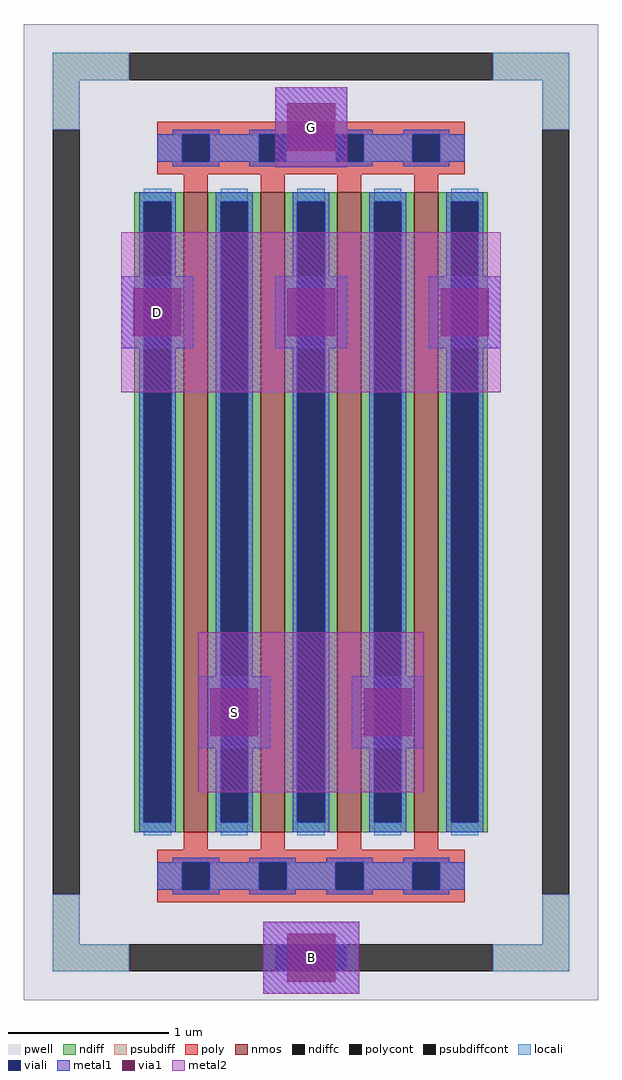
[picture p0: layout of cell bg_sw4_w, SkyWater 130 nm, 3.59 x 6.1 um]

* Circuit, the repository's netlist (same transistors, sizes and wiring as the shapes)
* NGSPICE file created from bg_sw4_w.ext - technology: sky130A

.subckt bg_sw4 B D0 G S1 D2 S3 a_159_n400#
X0 S3 G D2 B sky130_fd_pr__nfet_01v8 ad=0.66 pd=4.33 as=0.66 ps=4.33 w=4 l=0.15
X1 S1 G D0 B sky130_fd_pr__nfet_01v8 ad=0.66 pd=4.33 as=1.24 ps=8.62 w=4 l=0.15
X2 D2 G S1 B sky130_fd_pr__nfet_01v8 ad=0.66 pd=4.33 as=0.66 ps=4.33 w=4 l=0.15
X3 a_159_n400# G S3 B sky130_fd_pr__nfet_01v8 ad=1.24 pd=8.62 as=0.66 ps=4.33 w=4 l=0.15
.ends

.subckt bg_sw4_w D S G B
Xu_dev B D G S D S D bg_sw4
.ends

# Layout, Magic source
magic
tech sky130A
magscale 1 2
use bg_sw4 u_dev
transform 1 0 0 0 1 0
box -359 -610 359 610
<< viali >>
rect -45 -574 45 -540
<< metal1 >>
rect -237 205 -147 295
rect -45 205 45 295
rect 147 205 237 295
rect -141 -295 -51 -205
rect 51 -295 141 -205
rect -45 432 45 531
rect -60 -602 60 -512
<< via1 >>
rect -222 220 -162 280
rect -30 220 30 280
rect 162 220 222 280
rect -126 -280 -66 -220
rect 66 -280 126 -220
rect -30 451 30 511
rect -30 -587 30 -527
<< metal2 >>
rect -237 150 237 350
rect -141 -350 141 -150
rect -45 431 45 531
rect -60 -602 60 -512
<< labels >>
rlabel metal2 -192 250 -192 250 0 D
port 1 nsew
rlabel metal2 -96 -250 -96 -250 0 S
port 2 nsew
rlabel metal2 0 481 0 481 0 G
port 3 nsew
rlabel metal2 0 -557 0 -557 0 B
port 4 nsew
<< end >>

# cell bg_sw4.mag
magic
tech sky130A
magscale 1 2
<< pwell >>
rect -359 -610 359 610
<< nmos >>
rect -159 -400 -129 400
rect -63 -400 -33 400
rect 33 -400 63 400
rect 129 -400 159 400
<< ndiff >>
rect -221 388 -159 400
rect -221 -388 -209 388
rect -175 -388 -159 388
rect -221 -400 -159 -388
rect -129 388 -63 400
rect -129 -388 -113 388
rect -79 -388 -63 388
rect -129 -400 -63 -388
rect -33 388 33 400
rect -33 -388 -17 388
rect 17 -388 33 388
rect -33 -400 33 -388
rect 63 388 129 400
rect 63 -388 79 388
rect 113 -388 129 388
rect 63 -400 129 -388
rect 159 388 221 400
rect 159 -388 175 388
rect 209 -388 221 388
rect 159 -400 221 -388
<< ndiffc >>
rect -209 -388 -175 388
rect -113 -388 -79 388
rect -17 -388 17 388
rect 79 -388 113 388
rect 175 -388 209 388
<< psubdiff >>
rect -323 540 -227 574
rect 227 540 323 574
rect -323 478 -289 540
rect 289 478 323 540
rect -323 -540 -289 -478
rect 289 -540 323 -478
rect -323 -574 -227 -540
rect 227 -574 323 -540
<< psubdiffcont >>
rect -227 540 227 574
rect -323 -478 -289 478
rect 289 -478 323 478
rect -227 -574 227 -540
<< poly >>
rect -192 472 192 488
rect -192 438 -161 472
rect -127 438 -65 472
rect -31 438 31 472
rect 65 438 127 472
rect 161 438 192 472
rect -192 422 192 438
rect -159 400 -129 422
rect -63 400 -33 422
rect 33 400 63 422
rect 129 400 159 422
rect -159 -422 -129 -400
rect -63 -422 -33 -400
rect 33 -422 63 -400
rect 129 -422 159 -400
rect -192 -438 192 -422
rect -192 -472 -161 -438
rect -127 -472 -65 -438
rect -31 -472 31 -438
rect 65 -472 127 -438
rect 161 -472 192 -438
rect -192 -488 192 -472
<< polycont >>
rect -161 438 -127 472
rect -65 438 -31 472
rect 31 438 65 472
rect 127 438 161 472
rect -161 -472 -127 -438
rect -65 -472 -31 -438
rect 31 -472 65 -438
rect 127 -472 161 -438
<< locali >>
rect -323 540 -227 574
rect 227 540 323 574
rect -323 478 -289 540
rect 289 478 323 540
rect -192 438 -161 472
rect -127 438 -65 472
rect -31 438 31 472
rect 65 438 127 472
rect 161 438 192 472
rect -209 388 -175 404
rect -209 -404 -175 -388
rect -113 388 -79 404
rect -113 -404 -79 -388
rect -17 388 17 404
rect -17 -404 17 -388
rect 79 388 113 404
rect 79 -404 113 -388
rect 175 388 209 404
rect 175 -404 209 -388
rect -192 -472 -161 -438
rect -127 -472 -65 -438
rect -31 -472 31 -438
rect 65 -472 127 -438
rect 161 -472 192 -438
rect -323 -540 -289 -478
rect 289 -540 323 -478
rect -323 -574 -227 -540
rect 227 -574 323 -540
<< viali >>
rect -161 438 -127 472
rect -65 438 -31 472
rect 31 438 65 472
rect 127 438 161 472
rect -209 -388 -175 388
rect -113 -388 -79 388
rect -17 -388 17 388
rect 79 -388 113 388
rect 175 -388 209 388
rect -161 -472 -127 -438
rect -65 -472 -31 -438
rect 31 -472 65 -438
rect 127 -472 161 -438
<< metal1 >>
rect -173 472 -115 478
rect -77 472 -19 478
rect 19 472 77 478
rect 115 472 173 478
rect -192 438 -161 472
rect -127 438 -65 472
rect -31 438 31 472
rect 65 438 127 472
rect 161 438 192 472
rect -173 432 -115 438
rect -77 432 -19 438
rect 19 432 77 438
rect 115 432 173 438
rect -215 388 -169 400
rect -215 -388 -209 388
rect -175 -388 -169 388
rect -215 -400 -169 -388
rect -119 388 -73 400
rect -119 -388 -113 388
rect -79 -388 -73 388
rect -119 -400 -73 -388
rect -23 388 23 400
rect -23 -388 -17 388
rect 17 -388 23 388
rect -23 -400 23 -388
rect 73 388 119 400
rect 73 -388 79 388
rect 113 -388 119 388
rect 73 -400 119 -388
rect 169 388 215 400
rect 169 -388 175 388
rect 209 -388 215 388
rect 169 -400 215 -388
rect -173 -438 -115 -432
rect -77 -438 -19 -432
rect 19 -438 77 -432
rect 115 -438 173 -432
rect -192 -472 -161 -438
rect -127 -472 -65 -438
rect -31 -472 31 -438
rect 65 -472 127 -438
rect 161 -472 192 -438
rect -173 -478 -115 -472
rect -77 -478 -19 -472
rect 19 -478 77 -472
rect 115 -478 173 -472
<< labels >>
rlabel psubdiffcont 0 -557 0 -557 0 B
port 1 nsew
rlabel ndiffc -192 0 -192 0 0 D0
port 2 nsew
rlabel polycont -144 455 -144 455 0 G
port 3 nsew
rlabel ndiffc -96 0 -96 0 0 S1
port 4 nsew
rlabel polycont -48 455 -48 455 0 G
port 3 nsew
rlabel ndiffc 0 0 0 0 0 D2
port 5 nsew
rlabel polycont 48 455 48 455 0 G
port 3 nsew
rlabel ndiffc 96 0 96 0 0 S3
port 6 nsew
rlabel polycont 144 455 144 455 0 G
port 3 nsew
<< properties >>
string FIXED_BBOX -306 -557 306 557
<< end >>
